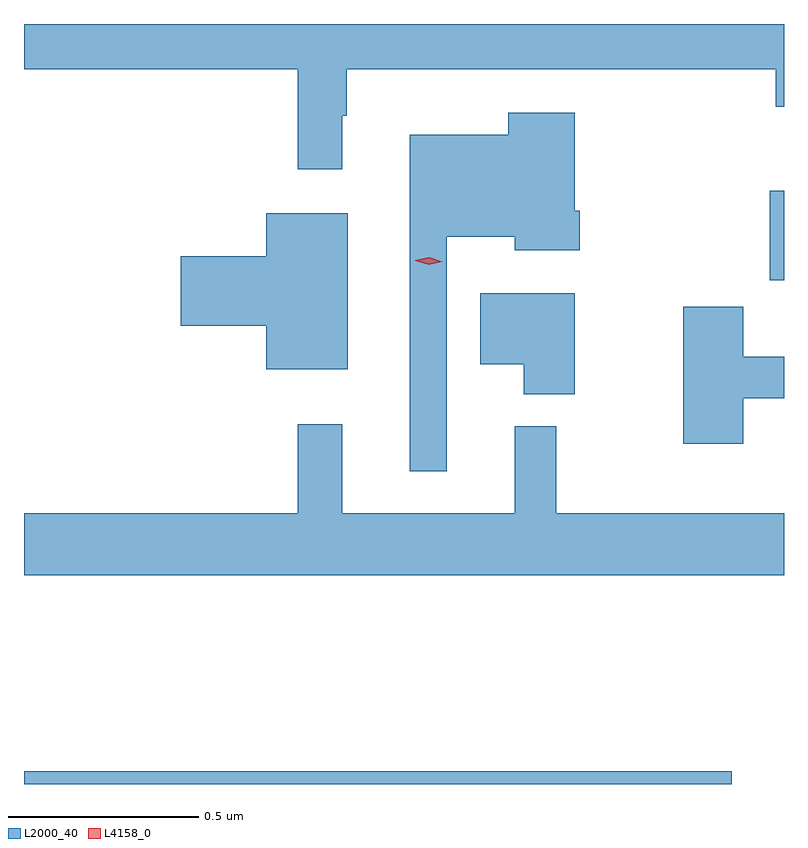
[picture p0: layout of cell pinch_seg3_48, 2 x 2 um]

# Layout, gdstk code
import gdstk
lib = gdstk.Library(unit=1e-6, precision=1e-09)
def R(c, l, rs):  # rectangles x0, y0, x1, y1
    for r in rs: c.add(gdstk.rectangle(r[:2], r[2:], *l))
def P(c, l, *ps):  # polygons
    for p in ps: c.add(gdstk.Polygon(p, *l))
L2000_40 = (2000, 40)
L4158_0 = (4158, 0)

pinch_seg3_48 = lib.new_cell('pinch_seg3_48')
R(pinch_seg3_48, L2000_40, [(1070.701,733.667,1072.564,733.7), (1072.664,734.993,1072.701,735.228)])
P(pinch_seg3_48, L2000_40, [(1071.538,735.425),(1071.55,735.425),(1071.55,735.548),(1072.679,735.548),(1072.679,735.449),(1072.701,735.449),(1072.701,735.667),(1070.701,735.667),(1070.701,735.548),(1071.421,735.548),(1071.421,735.285),(1071.538,735.285)],
  [(1071.813,735.107),(1071.992,735.107),(1071.992,735.071),(1072.163,735.071),(1072.163,735.175),(1072.15,735.175),(1072.15,735.433),(1071.975,735.433),(1071.975,735.376),(1071.716,735.376),(1071.716,734.49),(1071.813,734.49)],
  [(1071.553,735.169),(1071.338,735.169),(1071.338,735.056),(1071.114,735.056),(1071.114,734.873),(1071.338,734.873),(1071.338,734.759),(1071.553,734.759)],
  [(1072.15,734.959),(1071.902,734.959),(1071.902,734.771),(1072.016,734.771),(1072.016,734.693),(1072.15,734.693)],
  [(1072.594,734.682),(1072.701,734.682),(1072.701,734.792),(1072.594,734.792),(1072.594,734.923),(1072.436,734.923),(1072.436,734.562),(1072.594,734.562)],
  [(1072.701,734.38),(1072.102,734.38),(1072.102,734.608),(1071.992,734.608),(1071.992,734.38),(1071.539,734.38),(1071.539,734.614),(1071.421,734.614),(1071.421,734.38),(1070.701,734.38),(1070.701,734.216),(1072.701,734.216)])
P(pinch_seg3_48, L4158_0, [(1071.766,735.033),(1071.731,735.044),(1071.731,735.044),(1071.731,735.045),(1071.767,735.053),(1071.802,735.042),(1071.802,735.042),(1071.802,735.042)])

lib.write_gds('pinch_seg3_48.gds')
